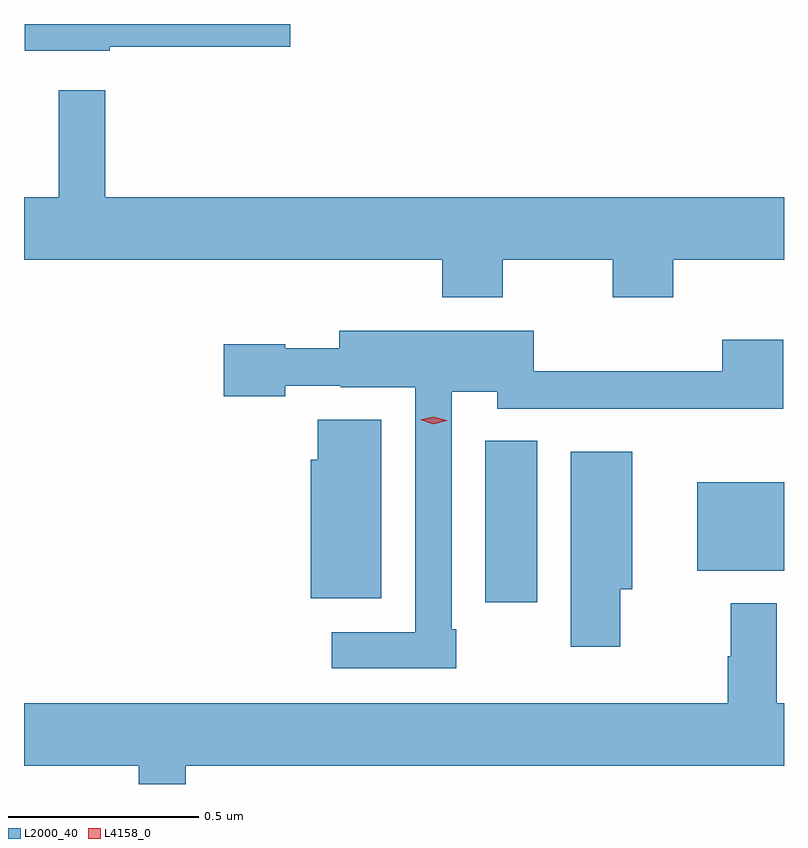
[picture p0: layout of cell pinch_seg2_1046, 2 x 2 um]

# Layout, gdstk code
import gdstk
lib = gdstk.Library(unit=1e-6, precision=1e-09)
def R(c, l, rs):  # rectangles x0, y0, x1, y1
    for r in rs: c.add(gdstk.rectangle(r[:2], r[2:], *l))
def P(c, l, *ps):  # polygons
    for p in ps: c.add(gdstk.Polygon(p, *l))
L2000_40 = (2000, 40)
L4158_0 = (4158, 0)

pinch_seg2_1046 = lib.new_cell('pinch_seg2_1046')
R(pinch_seg2_1046, L2000_40, [(302.777,602.778,302.914,603.203), (303.335,602.861,303.563,603.094)])
P(pinch_seg2_1046, L2000_40, [(301.788,604.24),(302.263,604.24),(302.263,604.3),(301.565,604.3),(301.565,604.229),(301.788,604.229)],
  [(302.823,603.68),(303.112,603.68),(303.112,603.581),(303.272,603.581),(303.272,603.68),(303.563,603.68),(303.563,603.844),(301.777,603.844),(301.777,604.126),(301.655,604.126),(301.655,603.844),(301.563,603.844),(301.563,603.68),(302.663,603.68),(302.663,603.581),(302.823,603.581)],
  [(302.701,602.707),(302.688,602.707),(302.688,603.332),(302.808,603.332),(302.808,603.288),(303.317,603.288),(303.317,603.287),(303.561,603.287),(303.561,603.469),(303.401,603.469),(303.401,603.386),(302.904,603.386),(302.904,603.493),(302.393,603.493),(302.393,603.447),(302.25,603.447),(302.25,603.457),(302.088,603.457),(302.088,603.32),(302.25,603.32),(302.25,603.348),(302.397,603.348),(302.397,603.344),(302.592,603.344),(302.592,602.7),(302.373,602.7),(302.373,602.604),(302.701,602.604)],
  [(302.503,603.259),(302.336,603.259),(302.336,603.153),(302.318,603.153),(302.318,602.789),(302.503,602.789)],
  [(303.132,602.813),(303.163,602.813),(303.163,603.175),(303.002,603.175),(303.002,602.661),(303.132,602.661)],
  [(301.988,602.348),(303.563,602.348),(303.563,602.512),(303.544,602.512),(303.544,602.776),(303.423,602.776),(303.423,602.636),(303.415,602.636),(303.415,602.512),(301.563,602.512),(301.563,602.348),(301.865,602.348),(301.865,602.3),(301.988,602.3)])
P(pinch_seg2_1046, L4158_0, [(302.64,603.247),(302.606,603.258),(302.606,603.258),(302.606,603.258),(302.64,603.267),(302.675,603.257),(302.675,603.256),(302.675,603.256)])

lib.write_gds('pinch_seg2_1046.gds')
